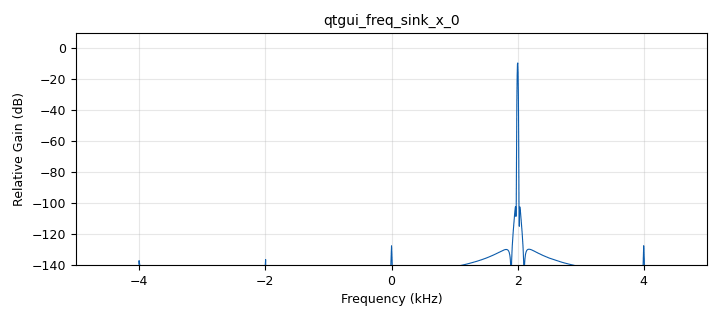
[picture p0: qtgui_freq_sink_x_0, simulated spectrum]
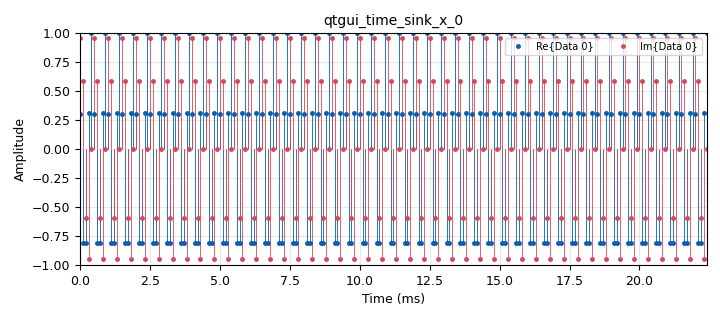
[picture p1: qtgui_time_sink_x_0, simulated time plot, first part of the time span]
options:
  parameters:
    author: Geovani_Arenas_Andres_Cuevas_L1A
    generate_options: qt_gui
    id: untitled
    output_language: python
    title: lab2_2170811
  states: {}

blocks:
- name: freq
  id: variable_qtgui_range
  parameters:
    label: Frequency
    start: '1000'
    step: '1000'
    stop: '40000'
    value: '2000'
  states: {}
- name: samp_rate
  id: variable_qtgui_range
  parameters:
    start: '0'
    step: '1000'
    stop: '1000000'
    value: '10000'
  states: {}
- name: analog_sig_source_x_0
  id: analog_sig_source_x
  parameters:
    amp: '1'
    freq: freq
    offset: '0'
    phase: '0'
    samp_rate: samp_rate
    type: complex
    waveform: analog.GR_SIN_WAVE
  states: {}
- name: blocks_throttle_0
  id: blocks_throttle
  parameters:
    samples_per_second: samp_rate
    type: complex
  states: {}
- name: qtgui_freq_sink_x_0
  id: qtgui_freq_sink_x
  parameters:
    bw: samp_rate
    fc: '0'
    fftsize: '2048'
    type: complex
  states: {}
- name: qtgui_time_sink_x_0
  id: qtgui_time_sink_x
  parameters:
    size: '1024'
    srate: samp_rate
    stemplot: 'True'
    type: complex
  states: {}

connections:
- [analog_sig_source_x_0, '0', blocks_throttle_0, '0']
- [blocks_throttle_0, '0', qtgui_freq_sink_x_0, '0']
- [blocks_throttle_0, '0', qtgui_time_sink_x_0, '0']

metadata:
  file_format: 1
